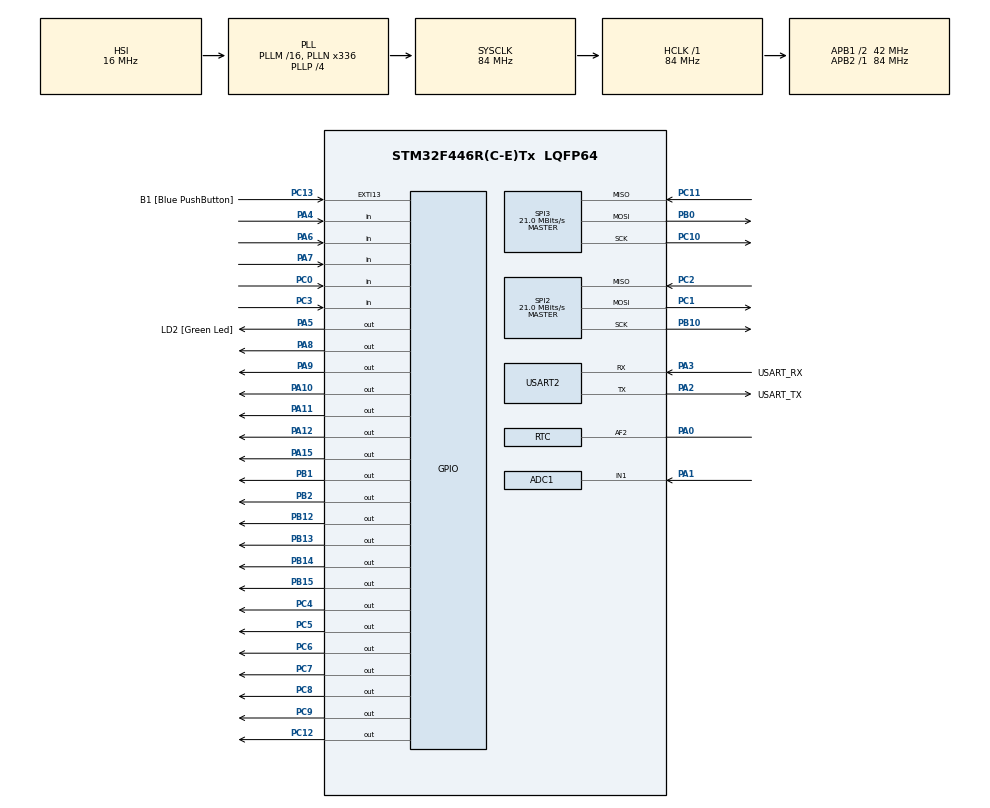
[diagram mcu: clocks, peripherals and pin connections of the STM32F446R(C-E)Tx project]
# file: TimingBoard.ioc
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ADC1.Channel-0\#ChannelRegularConversion=ADC_CHANNEL_1
ADC1.NbrOfConversionFlag=1
ADC1.Rank-0\#ChannelRegularConversion=1
ADC1.SamplingTime-0\#ChannelRegularConversion=ADC_SAMPLETIME_3CYCLES
ADC1.master=1
FREERTOS.Tasks01=defaultTask,24,128,StartDefaultTask,Default,NULL,Dynamic,NULL,NULL
Mcu.Family=STM32F4
Mcu.Name=STM32F446R(C-E)Tx
Mcu.Package=LQFP64
NVIC.PriorityGroup=NVIC_PRIORITYGROUP_4
NVIC.TIM1_UP_TIM10_IRQn=true\:15\:0\:false\:false\:true\:false\:false\:true
NVIC.TimeBase=TIM1_UP_TIM10_IRQn
NVIC.TimeBaseIP=TIM1
NVIC.USART2_IRQn=true\:5\:0\:false\:false\:true\:true\:true\:true
PA0-WKUP.Mode=Timestamp enabled - Input Enabled to AF2
PA0-WKUP.Signal=RTC_AF2
PA1.Signal=ADCx_IN1
PA10.Signal=GPIO_Output
PA11.Signal=GPIO_Output
PA12.Signal=GPIO_Output
PA13.GPIO_Label=TMS
PA13.Mode=Serial_Wire
PA13.Signal=SYS_JTMS-SWDIO
PA14.GPIO_Label=TCK
PA14.Mode=Serial_Wire
PA14.Signal=SYS_JTCK-SWCLK
PA15.Signal=GPIO_Output
PA2.GPIO_Label=USART_TX
PA2.Mode=Asynchronous
PA2.Signal=USART2_TX
PA3.GPIO_Label=USART_RX
PA3.Mode=Asynchronous
PA3.Signal=USART2_RX
PA4.Signal=GPIO_Input
PA5.GPIO_Label=LD2 [Green Led]
PA5.Signal=GPIO_Output
PA6.Signal=GPIO_Input
PA7.Signal=GPIO_Input
PA8.Signal=GPIO_Output
PA9.Signal=GPIO_Output
PB0.Mode=Full_Duplex_Master
PB0.Signal=SPI3_MOSI
PB1.Signal=GPIO_Output
PB10.Mode=Full_Duplex_Master
PB10.Signal=SPI2_SCK
PB12.Signal=GPIO_Output
PB13.Signal=GPIO_Output
PB14.Signal=GPIO_Output
PB15.Signal=GPIO_Output
PB2.Signal=GPIO_Output
PB3.GPIO_Label=SWO
PB3.Signal=SYS_JTDO-SWO
PC0.Signal=GPIO_Input
PC1.Mode=Full_Duplex_Master
PC1.Signal=SPI2_MOSI
PC10.Mode=Full_Duplex_Master
PC10.Signal=SPI3_SCK
PC11.Mode=Full_Duplex_Master
PC11.Signal=SPI3_MISO
PC12.Signal=GPIO_Output
PC13.GPIO_Label=B1 [Blue PushButton]
PC13.GPIO_ModeDefaultEXTI=GPIO_MODE_IT_FALLING
PC13.Signal=GPXTI13
PC14-OSC32_IN.Mode=LSE-External-Oscillator
PC14-OSC32_IN.Signal=RCC_OSC32_IN
PC15-OSC32_OUT.Mode=LSE-External-Oscillator
PC15-OSC32_OUT.Signal=RCC_OSC32_OUT
PC2.Mode=Full_Duplex_Master
PC2.Signal=SPI2_MISO
PC3.Signal=GPIO_Input
PC4.Signal=GPIO_Output
PC5.Signal=GPIO_Output
PC6.Signal=GPIO_Output
PC7.Signal=GPIO_Output
PC8.Signal=GPIO_Output
PC9.Signal=GPIO_Output
PH0-OSC_IN.Mode=HSE-External-Oscillator
PH0-OSC_IN.Signal=RCC_OSC_IN
PH1-OSC_OUT.Mode=HSE-External-Oscillator
PH1-OSC_OUT.Signal=RCC_OSC_OUT
ProjectManager.HeapSize=0x200
ProjectManager.StackSize=0x400
ProjectManager.TargetToolchain=Makefile
RCC.48MHZClocksFreq_Value=84000000
RCC.AHBFreq_Value=84000000
RCC.APB1CLKDivider=RCC_HCLK_DIV2
RCC.APB1Freq_Value=42000000
RCC.APB1TimFreq_Value=84000000
RCC.APB2Freq_Value=84000000
RCC.APB2TimFreq_Value=84000000
RCC.CortexFreq_Value=84000000
RCC.FLatency-AdvancedSettings=FLASH_LATENCY_2
RCC.HCLKFreq_Value=84000000
RCC.HSE_VALUE=8000000
RCC.HSI_VALUE=16000000
RCC.PLLN=336
RCC.PLLP=RCC_PLLP_DIV4
RCC.SYSCLKFreq_VALUE=84000000
RCC.SYSCLKSource=RCC_SYSCLKSOURCE_PLLCLK
RCC.USBFreq_Value=168000000
RCC.VCOOutputFreq_Value=336000000
RTC.TimeStampPin=RTC_TIMESTAMPPIN_POS1
SH.ADCx_IN1.0=ADC1_IN1,IN1
SPI2.CalculateBaudRate=21.0 MBits/s
SPI2.Direction=SPI_DIRECTION_2LINES
SPI2.Mode=SPI_MODE_MASTER
SPI2.VirtualType=VM_MASTER
SPI3.CalculateBaudRate=21.0 MBits/s
SPI3.Direction=SPI_DIRECTION_2LINES
SPI3.Mode=SPI_MODE_MASTER
SPI3.VirtualType=VM_MASTER
USART2.VirtualMode=VM_ASYNC
VP_FREERTOS_VS_CMSIS_V2.Mode=CMSIS_V2
VP_RTC_VS_RTC_Activate.Mode=RTC_Enabled
VP_RTC_VS_RTC_Calendar.Mode=RTC_Calendar
VP_SYS_VS_tim1.Mode=TIM1
board=NUCLEO-F446RE

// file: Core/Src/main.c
/* USER CODE BEGIN Header */
/**
  ******************************************************************************
  * @file           : main.c
  * @brief          : Main program body
  ******************************************************************************
  * @attention
  *
  * Copyright (c) 2022 STMicroelectronics.
  * All rights reserved.
  *
  * This software is licensed under terms that can be found in the LICENSE file
  * in the root directory of this software component.
  * If no LICENSE file comes with this software, it is provided AS-IS.
  *
  ******************************************************************************
  */
/* USER CODE END Header */
#include "main.h"
#include "cmsis_os.h"

/* USER CODE BEGIN Includes */
#include "Modbus.h"
#include "socket.h"
/* USER CODE END Includes */

ADC_HandleTypeDef hadc1;

RTC_HandleTypeDef hrtc;

SPI_HandleTypeDef hspi2;
SPI_HandleTypeDef hspi3;

UART_HandleTypeDef huart2;

/* Definitions for defaultTask */
osThreadId_t defaultTaskHandle;
const osThreadAttr_t defaultTask_attributes = {
  .name = "defaultTask",
  .stack_size = 128 * 4,
  .priority = (osPriority_t) osPriorityNormal,
};
/* USER CODE BEGIN PV */
modbusHandler_t ModbusH;
uint16_t ModbusDATA[8];
/* USER CODE END PV */

void SystemClock_Config(void);
static void MX_GPIO_Init(void);
static void MX_ADC1_Init(void);
static void MX_RTC_Init(void);
static void MX_SPI2_Init(void);
static void MX_SPI3_Init(void);
static void MX_USART2_UART_Init(void);
void StartDefaultTask(void *argument);

int main(void)
{

  /* MCU Configuration--------------------------------------------------------*/

  /* Reset of all peripherals, Initializes the Flash interface and the Systick. */
  HAL_Init();

  /* Configure the system clock */
  SystemClock_Config();

  /* Initialize all configured peripherals */
  MX_GPIO_Init();
  MX_ADC1_Init();
  MX_RTC_Init();
  MX_SPI2_Init();
  MX_SPI3_Init();
  MX_USART2_UART_Init();
  /* USER CODE BEGIN 2 */
  ModbusH.uModbusType = MB_SLAVE;
  ModbusH.port = &huart2;
  ModbusH.u8id = 1;
  ModbusH.u16timeOut = 1000;
  ModbusH.EN_Port = NULL;
  ModbusH.u16regs = ModbusDATA;
  ModbusH.u16regsize = sizeof(ModbusDATA)/sizeof(ModbusDATA[0]);
  ModbusH.xTypeHW = USART_HW;
  ModbusInit(&ModbusH);
  ModbusStart(&ModbusH);
  /* USER CODE END 2 */

  /* Init scheduler */
  osKernelInitialize();

  /* Create the thread(s) */
  /* creation of defaultTask */
  defaultTaskHandle = osThreadNew(StartDefaultTask, NULL, &defaultTask_attributes);

  /* Start scheduler */
  osKernelStart();

  /* We should never get here as control is now taken by the scheduler */
  /* Infinite loop */
  while (1)
  {

  }
}

void SystemClock_Config(void)
{
  RCC_OscInitTypeDef RCC_OscInitStruct = {0};
  RCC_ClkInitTypeDef RCC_ClkInitStruct = {0};

  /** Configure the main internal regulator output voltage
  */
  __HAL_RCC_PWR_CLK_ENABLE();
  __HAL_PWR_VOLTAGESCALING_CONFIG(PWR_REGULATOR_VOLTAGE_SCALE3);
  /** Initializes the RCC Oscillators according to the specified parameters
  * in the RCC_OscInitTypeDef structure.
  */
  RCC_OscInitStruct.OscillatorType = RCC_OSCILLATORTYPE_HSI|RCC_OSCILLATORTYPE_LSI;
  RCC_OscInitStruct.LSEState = RCC_LSE_ON;
  RCC_OscInitStruct.HSIState = RCC_HSI_ON;
  RCC_OscInitStruct.HSICalibrationValue = RCC_HSICALIBRATION_DEFAULT;
  RCC_OscInitStruct.LSIState = RCC_LSI_ON;
  RCC_OscInitStruct.PLL.PLLState = RCC_PLL_ON;
  RCC_OscInitStruct.PLL.PLLSource = RCC_PLLSOURCE_HSI;
  RCC_OscInitStruct.PLL.PLLM = 16;
  RCC_OscInitStruct.PLL.PLLN = 336;
  RCC_OscInitStruct.PLL.PLLP = RCC_PLLP_DIV4;
  RCC_OscInitStruct.PLL.PLLQ = 2;
  RCC_OscInitStruct.PLL.PLLR = 2;
  if (HAL_RCC_OscConfig(&RCC_OscInitStruct) != HAL_OK)
  {
    Error_Handler();
  }
  /** Initializes the CPU, AHB and APB buses clocks
  */
  RCC_ClkInitStruct.ClockType = RCC_CLOCKTYPE_HCLK|RCC_CLOCKTYPE_SYSCLK
                              |RCC_CLOCKTYPE_PCLK1|RCC_CLOCKTYPE_PCLK2;
  RCC_ClkInitStruct.SYSCLKSource = RCC_SYSCLKSOURCE_PLLCLK;
  RCC_ClkInitStruct.AHBCLKDivider = RCC_SYSCLK_DIV1;
  RCC_ClkInitStruct.APB1CLKDivider = RCC_HCLK_DIV2;
  RCC_ClkInitStruct.APB2CLKDivider = RCC_HCLK_DIV1;

  if (HAL_RCC_ClockConfig(&RCC_ClkInitStruct, FLASH_LATENCY_2) != HAL_OK)
  {
    Error_Handler();
  }
}

static void MX_ADC1_Init(void)
{

  ADC_ChannelConfTypeDef sConfig = {0};

  /** Configure the global features of the ADC (Clock, Resolution, Data Alignment and number of conversion)
  */
  hadc1.Instance = ADC1;
  hadc1.Init.ClockPrescaler = ADC_CLOCK_SYNC_PCLK_DIV4;
  hadc1.Init.Resolution = ADC_RESOLUTION_12B;
  hadc1.Init.ScanConvMode = DISABLE;
  hadc1.Init.ContinuousConvMode = DISABLE;
  hadc1.Init.DiscontinuousConvMode = DISABLE;
  hadc1.Init.ExternalTrigConvEdge = ADC_EXTERNALTRIGCONVEDGE_NONE;
  hadc1.Init.ExternalTrigConv = ADC_SOFTWARE_START;
  hadc1.Init.DataAlign = ADC_DATAALIGN_RIGHT;
  hadc1.Init.NbrOfConversion = 1;
  hadc1.Init.DMAContinuousRequests = DISABLE;
  hadc1.Init.EOCSelection = ADC_EOC_SINGLE_CONV;
  if (HAL_ADC_Init(&hadc1) != HAL_OK)
  {
    Error_Handler();
  }
  /** Configure for the selected ADC regular channel its corresponding rank in the sequencer and its sample time.
  */
  sConfig.Channel = ADC_CHANNEL_1;
  sConfig.Rank = 1;
  sConfig.SamplingTime = ADC_SAMPLETIME_3CYCLES;
  if (HAL_ADC_ConfigChannel(&hadc1, &sConfig) != HAL_OK)
  {
    Error_Handler();
  }

}

static void MX_RTC_Init(void)
{

  RTC_TimeTypeDef sTime = {0};
  RTC_DateTypeDef sDate = {0};

  /** Initialize RTC Only
  */
  hrtc.Instance = RTC;
  hrtc.Init.HourFormat = RTC_HOURFORMAT_24;
  hrtc.Init.AsynchPrediv = 127;
  hrtc.Init.SynchPrediv = 255;
  hrtc.Init.OutPut = RTC_OUTPUT_DISABLE;
  hrtc.Init.OutPutPolarity = RTC_OUTPUT_POLARITY_HIGH;
  hrtc.Init.OutPutType = RTC_OUTPUT_TYPE_OPENDRAIN;
  if (HAL_RTC_Init(&hrtc) != HAL_OK)
  {
    Error_Handler();
  }

  /** Initialize RTC and set the Time and Date
  */
  sTime.Hours = 0x0;
  sTime.Minutes = 0x0;
  sTime.Seconds = 0x0;
  sTime.DayLightSaving = RTC_DAYLIGHTSAVING_NONE;
  sTime.StoreOperation = RTC_STOREOPERATION_RESET;
  if (HAL_RTC_SetTime(&hrtc, &sTime, RTC_FORMAT_BCD) != HAL_OK)
  {
    Error_Handler();
  }
  sDate.WeekDay = RTC_WEEKDAY_MONDAY;
  sDate.Month = RTC_MONTH_JANUARY;
  sDate.Date = 0x1;
  sDate.Year = 0x0;

  if (HAL_RTC_SetDate(&hrtc, &sDate, RTC_FORMAT_BCD) != HAL_OK)
  {
    Error_Handler();
  }
  /** Enable the TimeStamp
  */
  if (HAL_RTCEx_SetTimeStamp(&hrtc, RTC_TIMESTAMPEDGE_RISING, RTC_TIMESTAMPPIN_POS1) != HAL_OK)
  {
    Error_Handler();
  }

}

static void MX_SPI2_Init(void)
{

  /* SPI2 parameter configuration*/
  hspi2.Instance = SPI2;
  hspi2.Init.Mode = SPI_MODE_MASTER;
  hspi2.Init.Direction = SPI_DIRECTION_2LINES;
  hspi2.Init.DataSize = SPI_DATASIZE_8BIT;
  hspi2.Init.CLKPolarity = SPI_POLARITY_LOW;
  hspi2.Init.CLKPhase = SPI_PHASE_1EDGE;
  hspi2.Init.NSS = SPI_NSS_SOFT;
  hspi2.Init.BaudRatePrescaler = SPI_BAUDRATEPRESCALER_2;
  hspi2.Init.FirstBit = SPI_FIRSTBIT_MSB;
  hspi2.Init.TIMode = SPI_TIMODE_DISABLE;
  hspi2.Init.CRCCalculation = SPI_CRCCALCULATION_DISABLE;
  hspi2.Init.CRCPolynomial = 10;
  if (HAL_SPI_Init(&hspi2) != HAL_OK)
  {
    Error_Handler();
  }

}

static void MX_SPI3_Init(void)
{

  /* SPI3 parameter configuration*/
  hspi3.Instance = SPI3;
  hspi3.Init.Mode = SPI_MODE_MASTER;
  hspi3.Init.Direction = SPI_DIRECTION_2LINES;
  hspi3.Init.DataSize = SPI_DATASIZE_8BIT;
  hspi3.Init.CLKPolarity = SPI_POLARITY_LOW;
  hspi3.Init.CLKPhase = SPI_PHASE_1EDGE;
  hspi3.Init.NSS = SPI_NSS_SOFT;
  hspi3.Init.BaudRatePrescaler = SPI_BAUDRATEPRESCALER_2;
  hspi3.Init.FirstBit = SPI_FIRSTBIT_MSB;
  hspi3.Init.TIMode = SPI_TIMODE_DISABLE;
  hspi3.Init.CRCCalculation = SPI_CRCCALCULATION_DISABLE;
  hspi3.Init.CRCPolynomial = 10;
  if (HAL_SPI_Init(&hspi3) != HAL_OK)
  {
    Error_Handler();
  }

}

static void MX_USART2_UART_Init(void)
{

  huart2.Instance = USART2;
  huart2.Init.BaudRate = 115200;
  huart2.Init.WordLength = UART_WORDLENGTH_8B;
  huart2.Init.StopBits = UART_STOPBITS_1;
  huart2.Init.Parity = UART_PARITY_NONE;
  huart2.Init.Mode = UART_MODE_TX_RX;
  huart2.Init.HwFlowCtl = UART_HWCONTROL_NONE;
  huart2.Init.OverSampling = UART_OVERSAMPLING_16;
  if (HAL_UART_Init(&huart2) != HAL_OK)
  {
    Error_Handler();
  }

}

static void MX_GPIO_Init(void)
{
  GPIO_InitTypeDef GPIO_InitStruct = {0};

  /* GPIO Ports Clock Enable */
  __HAL_RCC_GPIOC_CLK_ENABLE();
  __HAL_RCC_GPIOH_CLK_ENABLE();
  __HAL_RCC_GPIOA_CLK_ENABLE();
  __HAL_RCC_GPIOB_CLK_ENABLE();

  /*Configure GPIO pin Output Level */
  HAL_GPIO_WritePin(GPIOA, LD2_Pin|GPIO_PIN_8|GPIO_PIN_9|GPIO_PIN_10
                          |GPIO_PIN_11|GPIO_PIN_12|GPIO_PIN_15, GPIO_PIN_RESET);

  /*Configure GPIO pin Output Level */
  HAL_GPIO_WritePin(GPIOC, GPIO_PIN_4|GPIO_PIN_5|GPIO_PIN_6|GPIO_PIN_7
                          |GPIO_PIN_8|GPIO_PIN_9|GPIO_PIN_12, GPIO_PIN_RESET);

  /*Configure GPIO pin Output Level */
  HAL_GPIO_WritePin(GPIOB, GPIO_PIN_1|GPIO_PIN_2|GPIO_PIN_12|GPIO_PIN_13
                          |GPIO_PIN_14|GPIO_PIN_15, GPIO_PIN_RESET);

  /*Configure GPIO pin : B1_Pin */
  GPIO_InitStruct.Pin = B1_Pin;
  GPIO_InitStruct.Mode = GPIO_MODE_IT_FALLING;
  GPIO_InitStruct.Pull = GPIO_NOPULL;
  HAL_GPIO_Init(B1_GPIO_Port, &GPIO_InitStruct);

  /*Configure GPIO pins : PC0 PC3 */
  GPIO_InitStruct.Pin = GPIO_PIN_0|GPIO_PIN_3;
  GPIO_InitStruct.Mode = GPIO_MODE_INPUT;
  GPIO_InitStruct.Pull = GPIO_NOPULL;
  HAL_GPIO_Init(GPIOC, &GPIO_InitStruct);

  /*Configure GPIO pins : PA4 PA6 PA7 */
  GPIO_InitStruct.Pin = GPIO_PIN_4|GPIO_PIN_6|GPIO_PIN_7;
  GPIO_InitStruct.Mode = GPIO_MODE_INPUT;
  GPIO_InitStruct.Pull = GPIO_NOPULL;
  HAL_GPIO_Init(GPIOA, &GPIO_InitStruct);

  /*Configure GPIO pins : LD2_Pin PA8 PA9 PA10
                           PA11 PA12 PA15 */
  GPIO_InitStruct.Pin = LD2_Pin|GPIO_PIN_8|GPIO_PIN_9|GPIO_PIN_10
                          |GPIO_PIN_11|GPIO_PIN_12|GPIO_PIN_15;
  GPIO_InitStruct.Mode = GPIO_MODE_OUTPUT_PP;
  GPIO_InitStruct.Pull = GPIO_NOPULL;
  GPIO_InitStruct.Speed = GPIO_SPEED_FREQ_LOW;
  HAL_GPIO_Init(GPIOA, &GPIO_InitStruct);

  /*Configure GPIO pins : PC4 PC5 PC6 PC7
                           PC8 PC9 PC12 */
  GPIO_InitStruct.Pin = GPIO_PIN_4|GPIO_PIN_5|GPIO_PIN_6|GPIO_PIN_7
                          |GPIO_PIN_8|GPIO_PIN_9|GPIO_PIN_12;
  GPIO_InitStruct.Mode = GPIO_MODE_OUTPUT_PP;
  GPIO_InitStruct.Pull = GPIO_NOPULL;
  GPIO_InitStruct.Speed = GPIO_SPEED_FREQ_LOW;
  HAL_GPIO_Init(GPIOC, &GPIO_InitStruct);

  /*Configure GPIO pins : PB1 PB2 PB12 PB13
                           PB14 PB15 */
  GPIO_InitStruct.Pin = GPIO_PIN_1|GPIO_PIN_2|GPIO_PIN_12|GPIO_PIN_13
                          |GPIO_PIN_14|GPIO_PIN_15;
  GPIO_InitStruct.Mode = GPIO_MODE_OUTPUT_PP;
  GPIO_InitStruct.Pull = GPIO_NOPULL;
  GPIO_InitStruct.Speed = GPIO_SPEED_FREQ_LOW;
  HAL_GPIO_Init(GPIOB, &GPIO_InitStruct);

}

void StartDefaultTask(void *argument)
{
  /* USER CODE BEGIN 5 */

  // Beginnings of attempting w5500 initialization
  //reg_wizchip_cs_cbfunc(W5500_Select, W5500_Unselect);

  /* Infinite loop */
  for(;;)
  {
    uint16_t currValue = ModbusDATA[0];
    if (currValue == 0) {
      currValue = 1;
    }

    HAL_GPIO_TogglePin(GPIOA, GPIO_PIN_5);

    osDelay(currValue * 1000);
  }
  /* USER CODE END 5 */
}

void HAL_TIM_PeriodElapsedCallback(TIM_HandleTypeDef *htim)
{
  if (htim->Instance == TIM1) {
    HAL_IncTick();
  }
}

void Error_Handler(void)
{
  __disable_irq();
  while (1)
  {
  }
}
